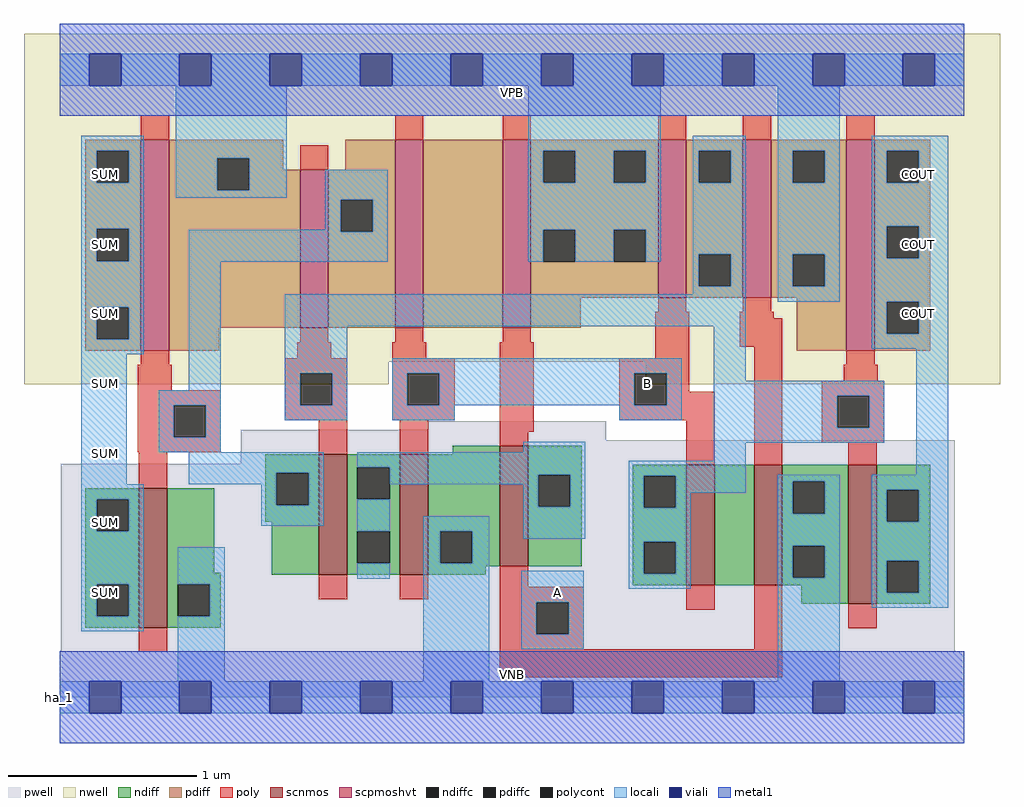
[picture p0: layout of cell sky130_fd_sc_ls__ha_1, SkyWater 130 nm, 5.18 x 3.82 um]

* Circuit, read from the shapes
.subckt sky130_fd_sc_ls__ha_1 A B VGND VNB VPB VPWR COUT SUM
XM1 VGND n1 SUM VNB sky130_fd_pr__nfet_01v8 w=0.74 l=0.15
XM2 n2 n3 n1 VNB sky130_fd_pr__nfet_01v8 w=0.64 l=0.15
XM3 VGND B n2 VNB sky130_fd_pr__nfet_01v8 w=0.64 l=0.15
XM4 n2 A VGND VNB sky130_fd_pr__nfet_01v8 w=0.64 l=0.15
XM5 n4 B n3 VNB sky130_fd_pr__nfet_01v8 w=0.64 l=0.15
XM6 VGND A n4 VNB sky130_fd_pr__nfet_01v8 w=0.64 l=0.15
XM7 COUT n3 VGND VNB sky130_fd_pr__nfet_01v8 w=0.74 l=0.15
XM8 VPWR n1 SUM VPB sky130_fd_pr__pfet_01v8_hvt w=1.12 l=0.15
XM9 n1 n3 VPWR VPB sky130_fd_pr__pfet_01v8_hvt w=0.84 l=0.15
XM10 n5 B n1 VPB sky130_fd_pr__pfet_01v8_hvt w=1 l=0.15
XM11 VPWR A n5 VPB sky130_fd_pr__pfet_01v8_hvt w=1 l=0.15
XM12 n3 B VPWR VPB sky130_fd_pr__pfet_01v8_hvt w=0.84 l=0.15
XM13 VPWR A n3 VPB sky130_fd_pr__pfet_01v8_hvt w=0.84 l=0.15
XM14 COUT n3 VPWR VPB sky130_fd_pr__pfet_01v8_hvt w=1.12 l=0.15
.ends

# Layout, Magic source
magic
tech sky130A
magscale 1 2
<< nwell >>
rect -38 356 998 704
rect -38 332 349 356
rect 622 332 998 356
<< pwell >>
rect 391 284 580 293
rect 192 273 580 284
rect 192 248 950 273
rect 1 49 950 248
rect 0 0 960 49
<< scnmos >>
rect 84 74 114 222
rect 275 130 305 258
rect 361 130 391 258
rect 467 139 497 267
rect 665 119 695 247
rect 737 119 767 247
rect 837 99 867 247
<< scpmoshvt >>
rect 86 368 116 592
rect 255 392 285 560
rect 356 392 386 592
rect 470 392 500 592
rect 635 424 665 592
rect 725 424 755 592
rect 835 368 865 592
<< ndiff >>
rect 417 258 467 267
rect 218 238 275 258
rect 27 210 84 222
rect 27 176 39 210
rect 73 176 84 210
rect 27 120 84 176
rect 27 86 39 120
rect 73 86 84 120
rect 27 74 84 86
rect 114 132 164 222
rect 218 204 230 238
rect 264 204 275 238
rect 218 186 275 204
rect 114 120 171 132
rect 225 130 275 186
rect 305 244 361 258
rect 305 210 316 244
rect 350 210 361 244
rect 305 176 361 210
rect 305 142 316 176
rect 350 142 361 176
rect 305 130 361 142
rect 391 176 467 258
rect 391 142 404 176
rect 438 142 467 176
rect 391 139 467 142
rect 497 236 554 267
rect 497 202 508 236
rect 542 202 554 236
rect 497 139 554 202
rect 608 235 665 247
rect 608 201 620 235
rect 654 201 665 235
rect 608 165 665 201
rect 391 130 452 139
rect 114 86 125 120
rect 159 86 171 120
rect 608 131 620 165
rect 654 131 665 165
rect 608 119 665 131
rect 695 119 737 247
rect 767 229 837 247
rect 767 195 778 229
rect 812 195 837 229
rect 767 161 837 195
rect 767 127 778 161
rect 812 127 837 161
rect 767 119 837 127
rect 114 74 171 86
rect 787 99 837 119
rect 867 220 924 247
rect 867 186 878 220
rect 912 186 924 220
rect 867 145 924 186
rect 867 111 878 145
rect 912 111 924 145
rect 867 99 924 111
<< pdiff >>
rect 27 580 86 592
rect 27 546 39 580
rect 73 546 86 580
rect 27 497 86 546
rect 27 463 39 497
rect 73 463 86 497
rect 27 414 86 463
rect 27 380 39 414
rect 73 380 86 414
rect 27 368 86 380
rect 116 572 237 592
rect 116 538 167 572
rect 201 560 237 572
rect 303 560 356 592
rect 201 538 255 560
rect 116 392 255 538
rect 285 528 356 560
rect 285 494 298 528
rect 332 494 356 528
rect 285 392 356 494
rect 386 392 470 592
rect 500 580 635 592
rect 500 546 513 580
rect 547 546 588 580
rect 622 546 635 580
rect 500 496 635 546
rect 500 462 513 496
rect 547 462 588 496
rect 622 462 635 496
rect 500 424 635 462
rect 665 580 725 592
rect 665 546 678 580
rect 712 546 725 580
rect 665 470 725 546
rect 665 436 678 470
rect 712 436 725 470
rect 665 424 725 436
rect 755 580 835 592
rect 755 546 778 580
rect 812 546 835 580
rect 755 470 835 546
rect 755 436 778 470
rect 812 436 835 470
rect 755 424 835 436
rect 500 392 553 424
rect 116 368 169 392
rect 782 368 835 424
rect 865 580 924 592
rect 865 546 878 580
rect 912 546 924 580
rect 865 500 924 546
rect 865 466 878 500
rect 912 466 924 500
rect 865 420 924 466
rect 865 386 878 420
rect 912 386 924 420
rect 865 368 924 386
<< ndiffc >>
rect 39 176 73 210
rect 39 86 73 120
rect 230 204 264 238
rect 316 210 350 244
rect 316 142 350 176
rect 404 142 438 176
rect 508 202 542 236
rect 620 201 654 235
rect 125 86 159 120
rect 620 131 654 165
rect 778 195 812 229
rect 778 127 812 161
rect 878 186 912 220
rect 878 111 912 145
<< pdiffc >>
rect 39 546 73 580
rect 39 463 73 497
rect 39 380 73 414
rect 167 538 201 572
rect 298 494 332 528
rect 513 546 547 580
rect 588 546 622 580
rect 513 462 547 496
rect 588 462 622 496
rect 678 546 712 580
rect 678 436 712 470
rect 778 546 812 580
rect 778 436 812 470
rect 878 546 912 580
rect 878 466 912 500
rect 878 386 912 420
<< poly >>
rect 86 592 116 618
rect 356 592 386 618
rect 470 592 500 618
rect 635 592 665 618
rect 725 592 755 618
rect 835 592 865 618
rect 255 560 285 586
rect 635 409 665 424
rect 725 409 755 424
rect 255 377 285 392
rect 356 377 386 392
rect 470 377 500 392
rect 86 353 116 368
rect 252 360 288 377
rect 353 360 389 377
rect 83 326 119 353
rect 239 344 305 360
rect 83 310 171 326
rect 83 276 121 310
rect 155 276 171 310
rect 239 310 255 344
rect 289 310 305 344
rect 239 294 305 310
rect 353 344 419 360
rect 353 310 369 344
rect 403 310 419 344
rect 353 294 419 310
rect 83 260 171 276
rect 84 222 114 260
rect 275 258 305 294
rect 361 258 391 294
rect 467 282 503 377
rect 632 360 668 409
rect 722 402 758 409
rect 722 372 767 402
rect 594 344 668 360
rect 594 310 610 344
rect 644 324 668 344
rect 644 310 695 324
rect 594 294 695 310
rect 467 267 497 282
rect 665 247 695 294
rect 737 247 767 372
rect 835 353 865 368
rect 832 336 868 353
rect 809 320 875 336
rect 809 286 825 320
rect 859 286 875 320
rect 809 270 875 286
rect 837 247 867 270
rect 275 104 305 130
rect 361 104 391 130
rect 467 117 497 139
rect 467 101 556 117
rect 84 48 114 74
rect 467 67 506 101
rect 540 67 556 101
rect 665 93 695 119
rect 467 51 556 67
rect 737 51 767 119
rect 837 73 867 99
rect 467 21 767 51
<< polycont >>
rect 121 276 155 310
rect 255 310 289 344
rect 369 310 403 344
rect 610 310 644 344
rect 825 286 859 320
rect 506 67 540 101
<< locali >>
rect 0 649 31 683
rect 65 649 127 683
rect 161 649 223 683
rect 257 649 319 683
rect 353 649 415 683
rect 449 649 511 683
rect 545 649 607 683
rect 641 649 703 683
rect 737 649 799 683
rect 833 649 895 683
rect 929 649 960 683
rect 23 580 89 596
rect 23 546 39 580
rect 73 546 89 580
rect 23 497 89 546
rect 123 572 241 649
rect 123 538 167 572
rect 201 538 241 572
rect 497 580 638 649
rect 123 530 241 538
rect 23 463 39 497
rect 73 463 89 497
rect 282 528 348 560
rect 282 496 298 528
rect 23 414 89 463
rect 23 380 39 414
rect 73 380 89 414
rect 23 364 89 380
rect 137 494 298 496
rect 332 494 348 528
rect 137 462 348 494
rect 497 546 513 580
rect 547 546 588 580
rect 622 546 638 580
rect 497 496 638 546
rect 497 462 513 496
rect 547 462 588 496
rect 622 462 638 496
rect 672 580 728 596
rect 672 546 678 580
rect 712 546 728 580
rect 672 470 728 546
rect 23 226 71 364
rect 137 326 171 462
rect 672 436 678 470
rect 712 436 728 470
rect 672 428 728 436
rect 105 310 171 326
rect 105 276 121 310
rect 155 276 171 310
rect 239 394 728 428
rect 762 580 828 649
rect 762 546 778 580
rect 812 546 828 580
rect 762 470 828 546
rect 762 436 778 470
rect 812 436 828 470
rect 762 420 828 436
rect 862 580 943 596
rect 862 546 878 580
rect 912 546 943 580
rect 862 500 943 546
rect 862 466 878 500
rect 912 466 943 500
rect 862 420 943 466
rect 239 344 305 394
rect 239 310 255 344
rect 289 310 305 344
rect 239 294 305 310
rect 353 344 660 360
rect 353 310 369 344
rect 403 310 610 344
rect 644 310 660 344
rect 353 294 419 310
rect 594 294 660 310
rect 694 336 728 394
rect 862 386 878 420
rect 912 386 943 420
rect 862 370 943 386
rect 694 320 875 336
rect 105 260 171 276
rect 694 286 825 320
rect 859 286 875 320
rect 492 260 558 271
rect 137 238 280 260
rect 137 226 230 238
rect 23 210 89 226
rect 23 176 39 210
rect 73 176 89 210
rect 214 204 230 226
rect 264 204 280 238
rect 214 182 280 204
rect 316 244 558 260
rect 694 270 875 286
rect 694 251 728 270
rect 350 236 558 244
rect 350 226 508 236
rect 23 120 89 176
rect 316 176 350 210
rect 492 202 508 226
rect 542 202 558 236
rect 23 86 39 120
rect 73 86 89 120
rect 23 70 89 86
rect 125 120 175 159
rect 316 126 350 142
rect 386 176 456 192
rect 386 142 404 176
rect 438 142 456 176
rect 492 168 558 202
rect 604 235 728 251
rect 909 236 943 370
rect 604 201 620 235
rect 654 217 728 235
rect 762 229 828 236
rect 654 201 670 217
rect 159 86 175 120
rect 125 17 175 86
rect 386 17 456 142
rect 604 165 670 201
rect 490 101 556 134
rect 604 131 620 165
rect 654 131 670 165
rect 604 115 670 131
rect 762 195 778 229
rect 812 195 828 229
rect 762 161 828 195
rect 762 127 778 161
rect 812 127 828 161
rect 490 67 506 101
rect 540 67 556 101
rect 490 51 556 67
rect 762 17 828 127
rect 862 220 943 236
rect 862 186 878 220
rect 912 186 943 220
rect 862 145 943 186
rect 862 111 878 145
rect 912 111 943 145
rect 862 95 943 111
rect 0 -17 31 17
rect 65 -17 127 17
rect 161 -17 223 17
rect 257 -17 319 17
rect 353 -17 415 17
rect 449 -17 511 17
rect 545 -17 607 17
rect 641 -17 703 17
rect 737 -17 799 17
rect 833 -17 895 17
rect 929 -17 960 17
<< viali >>
rect 31 649 65 683
rect 127 649 161 683
rect 223 649 257 683
rect 319 649 353 683
rect 415 649 449 683
rect 511 649 545 683
rect 607 649 641 683
rect 703 649 737 683
rect 799 649 833 683
rect 895 649 929 683
rect 31 -17 65 17
rect 127 -17 161 17
rect 223 -17 257 17
rect 319 -17 353 17
rect 415 -17 449 17
rect 511 -17 545 17
rect 607 -17 641 17
rect 703 -17 737 17
rect 799 -17 833 17
rect 895 -17 929 17
<< metal1 >>
rect 0 683 960 715
rect 0 649 31 683
rect 65 649 127 683
rect 161 649 223 683
rect 257 649 319 683
rect 353 649 415 683
rect 449 649 511 683
rect 545 649 607 683
rect 641 649 703 683
rect 737 649 799 683
rect 833 649 895 683
rect 929 649 960 683
rect 0 617 960 649
rect 0 17 960 49
rect 0 -17 31 17
rect 65 -17 127 17
rect 161 -17 223 17
rect 257 -17 319 17
rect 353 -17 415 17
rect 449 -17 511 17
rect 545 -17 607 17
rect 641 -17 703 17
rect 737 -17 799 17
rect 833 -17 895 17
rect 929 -17 960 17
rect 0 -49 960 -17
<< labels >>
rlabel comment s 0 0 0 0 4 ha_1
flabel pwell s 0 0 960 49 0 FreeSans 200 0 0 0 VNB
port 4 nsew ground bidirectional
flabel nwell s 0 617 960 666 0 FreeSans 200 0 0 0 VPB
port 5 nsew power bidirectional
flabel metal1 s 0 617 960 666 0 FreeSans 340 0 0 0 VPWR
port 6 nsew power bidirectional abutment
flabel metal1 s 0 0 960 49 0 FreeSans 340 0 0 0 VGND
port 3 nsew ground bidirectional abutment
flabel locali s 607 316 641 350 0 FreeSans 340 0 0 0 B
port 2 nsew signal input
flabel locali s 31 94 65 128 0 FreeSans 340 0 0 0 SUM
port 8 nsew signal output
flabel locali s 31 168 65 202 0 FreeSans 340 0 0 0 SUM
port 8 nsew signal output
flabel locali s 31 242 65 276 0 FreeSans 340 0 0 0 SUM
port 8 nsew signal output
flabel locali s 31 316 65 350 0 FreeSans 340 0 0 0 SUM
port 8 nsew signal output
flabel locali s 31 390 65 424 0 FreeSans 340 0 0 0 SUM
port 8 nsew signal output
flabel locali s 31 464 65 498 0 FreeSans 340 0 0 0 SUM
port 8 nsew signal output
flabel locali s 31 538 65 572 0 FreeSans 340 0 0 0 SUM
port 8 nsew signal output
flabel locali s 895 390 929 424 0 FreeSans 340 0 0 0 COUT
port 7 nsew signal output
flabel locali s 895 464 929 498 0 FreeSans 340 0 0 0 COUT
port 7 nsew signal output
flabel locali s 895 538 929 572 0 FreeSans 340 0 0 0 COUT
port 7 nsew signal output
flabel locali s 511 94 545 128 0 FreeSans 340 0 0 0 A
port 1 nsew signal input
<< properties >>
string LEFsite unit
string LEFclass CORE
string FIXED_BBOX 0 0 960 666
string GDS_FILE $PDKPATH/libs.ref/sky130_fd_sc_ls/gds/sky130_fd_sc_ls.gds
string LEFsymmetry X Y
string GDS_END 3826096
string GDS_START 3816954
<< end >>
